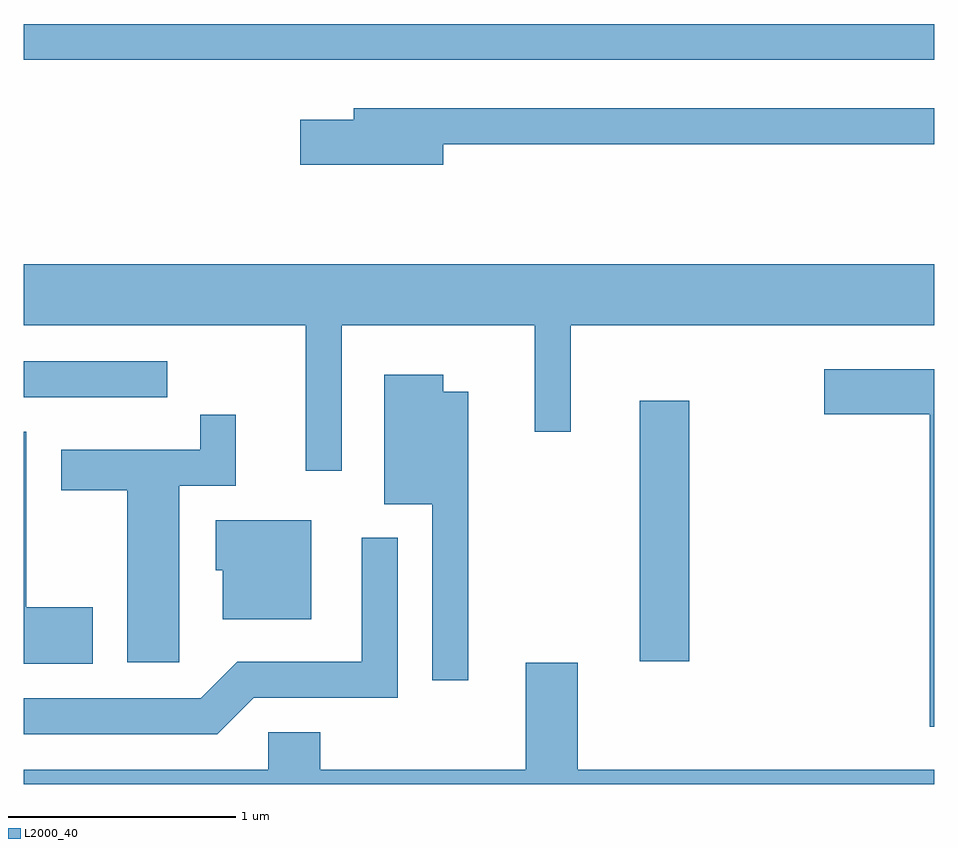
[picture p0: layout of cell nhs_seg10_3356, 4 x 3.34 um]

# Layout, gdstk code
import gdstk
lib = gdstk.Library(unit=1e-6, precision=1e-09)
def R(c, l, rs):  # rectangles x0, y0, x1, y1
    for r in rs: c.add(gdstk.rectangle(r[:2], r[2:], *l))
def P(c, l, *ps):  # polygons
    for p in ps: c.add(gdstk.Polygon(p, *l))
L2000_40 = (2000, 40)

nhs_seg10_3356 = lib.new_cell('nhs_seg10_3356')
R(nhs_seg10_3356, L2000_40, [(286.316,2159.061,286.534,2160.204), (283.611,2160.221,284.243,2160.379), (283.611,2161.701,287.611,2161.859)])
P(nhs_seg10_3356, L2000_40, [(285.454,2161.331),(287.611,2161.331),(287.611,2161.489),(285.061,2161.489),(285.061,2161.439),(284.826,2161.439),(284.826,2161.241),(285.454,2161.241)],
  [(285.009,2160.536),(285.856,2160.536),(285.856,2160.068),(286.014,2160.068),(286.014,2160.536),(287.611,2160.536),(287.611,2160.804),(283.611,2160.804),(283.611,2160.536),(284.851,2160.536),(284.851,2159.898),(285.009,2159.898)],
  [(287.611,2160.344),(287.126,2160.344),(287.126,2160.146),(287.591,2160.146),(287.591,2158.773),(287.611,2158.773)],
  [(285.564,2160.244),(285.454,2160.244),(285.454,2160.319),(285.196,2160.319),(285.196,2159.751),(285.406,2159.751),(285.406,2158.978),(285.564,2158.978)],
  [(284.294,2159.831),(284.544,2159.831),(284.544,2160.143),(284.386,2160.143),(284.386,2159.989),(283.776,2159.989),(283.776,2159.811),(284.066,2159.811),(284.066,2159.056),(284.294,2159.056)],
  [(283.914,2159.299),(283.624,2159.299),(283.624,2160.069),(283.611,2160.069),(283.611,2159.051),(283.914,2159.051)],
  [(284.874,2159.679),(284.456,2159.679),(284.456,2159.461),(284.486,2159.461),(284.486,2159.246),(284.874,2159.246)],
  [(284.622,2158.901),(285.254,2158.901),(285.254,2159.603),(285.096,2159.603),(285.096,2159.059),(284.549,2159.059),(284.389,2158.899),(283.611,2158.899),(283.611,2158.741),(284.462,2158.741)],
  [(287.611,2158.584),(286.044,2158.584),(286.044,2159.054),(285.816,2159.054),(285.816,2158.584),(284.914,2158.584),(284.914,2158.749),(284.686,2158.749),(284.686,2158.584),(283.611,2158.584),(283.611,2158.522),(287.611,2158.522)])

lib.write_gds('nhs_seg10_3356.gds')
